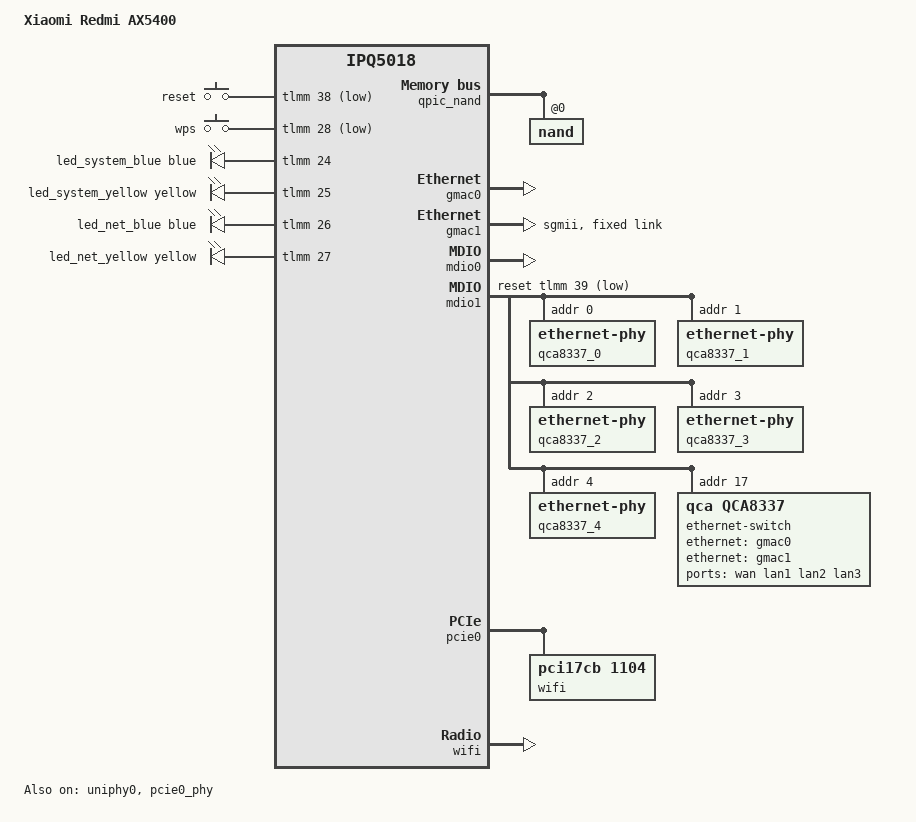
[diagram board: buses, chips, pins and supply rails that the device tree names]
/dts-v1/;

#include "ipq5018-xiaomi-base.dtsi"

/ {
	model = "Xiaomi Redmi AX5400";
	compatible = "xiaomi,redmi-ax5400", "qcom,ipq5018";

	aliases {
		label-mac-device = &gmac0;
		led-boot = &led_system_blue;
		led-failsafe = &led_system_yellow;
		led-running = &led_system_blue;
		led-upgrade = &led_system_yellow;
	};

	keys {
		compatible = "gpio-keys";

		pinctrl-0 = <&button_pins>;
		pinctrl-names = "default";

		reset-button {
			label = "reset";
			gpios = <&tlmm 38 GPIO_ACTIVE_LOW>;
			linux,code = <KEY_RESTART>;
		};

		wps-button {
			label = "wps";
			gpios = <&tlmm 28 GPIO_ACTIVE_LOW>;
			linux,code = <KEY_WPS_BUTTON>;
		};
	};

	leds {
		compatible = "gpio-leds";

		pinctrl-0 = <&leds_pins>;
		pinctrl-names = "default";

		led_system_blue: system-blue {
			color = <LED_COLOR_ID_BLUE>;
			function = LED_FUNCTION_POWER;
			gpios = <&tlmm 24 GPIO_ACTIVE_HIGH>;
		};

		led_system_yellow: system-yellow {
			color = <LED_COLOR_ID_YELLOW>;
			function = LED_FUNCTION_POWER;
			gpios = <&tlmm 25 GPIO_ACTIVE_HIGH>;
		};

		led_net_blue: net-blue {
			color = <LED_COLOR_ID_BLUE>;
			function = LED_FUNCTION_WAN;
			gpios = <&tlmm 26 GPIO_ACTIVE_HIGH>;
		};

		led_net_yellow: net-yellow {
			color = <LED_COLOR_ID_YELLOW>;
			function = LED_FUNCTION_WAN;
			gpios = <&tlmm 27 GPIO_ACTIVE_HIGH>;
		};
	};
};

&qpic_nand {
	nand@0 {
		nand-ecc-step-size = <512>;
		nand-ecc-strength = <8>;
	};
};

&art {
	nvmem-layout {
		compatible = "fixed-layout";
		#address-cells = <1>;
		#size-cells = <1>;

		mac_addr_gmac1: macaddr@0 {
			reg = <0x0 0x6>;
		};

		mac_addr_gmac0: macaddr@6 {
			reg = <0x6 0x6>;
		};
	};
};

/*
* =================================================================
*     _______________________             _______________________
*    |        IPQ5018        |           |        QCA8337        |
*    | +------+   +--------+ |           | +--------+   +------+ |
*    | | MAC0 |---| GE Phy |-+--- MDI ---+ | Phy4   |---| MAC4 | |
*    | +------+   +--------+ |           | +--------+   +------+ |
*    | +------+   +--------+ |           | +--------+   +------+ |
*    | | MAC1 |---| Uniphy |-+-- SGMII---+ | SerDes |---| MAC0 | |
*    | +------+   +--------+ |           | +--------+   +------+ |
*    |_______________________|           |_______________________|
*
* =================================================================
*/

&uniphy0 {
	status = "okay";

	assigned-clocks = <&uniphy0 UNIPHY_CLK_REF>;
	assigned-clock-rates = <UNIPHY_REFCLK_25MHZ>;
};

// MAC0 -> GE Phy
&gmac0 {
	status = "okay";

	nvmem-cells = <&mac_addr_gmac0 0>;
	nvmem-cell-names = "mac-address";
};

// MAC1 ---SGMII---> QCA8337
&gmac1 {
	status = "okay";

	phy-mode = "sgmii";

	nvmem-cells = <&mac_addr_gmac1 0>;
	nvmem-cell-names = "mac-address";

	fixed-link {
		speed = <1000>;
		full-duplex;
	};
};

&mdio0 {
	status = "okay";
};

// IPQ5018 GE Phy -> QCA8337 PHY4
&ge_phy {
	qcom,dac-preset-short-cable;
};

&mdio1 {
	status = "okay";

	pinctrl-0 = <&mdio1_pins>;
	pinctrl-names = "default";
	reset-gpios = <&tlmm 39 GPIO_ACTIVE_LOW>;

	// QCA8337 Phy0 -> WAN
	qca8337_0: ethernet-phy@0 {
		reg = <0>;
	};

	// QCA8337 Phy1 -> LAN1
	qca8337_1: ethernet-phy@1 {
		reg = <1>;
	};

	// QCA8337 Phy2 -> LAN2
	qca8337_2: ethernet-phy@2 {
		reg = <2>;
	};

	// QCA8337 Phy3 -> LAN3
	qca8337_3: ethernet-phy@3 {
		reg = <3>;
	};

	// QCA8337 Phy4 -> IPQ5018 GE Phy
	qca8337_4: ethernet-phy@4 {
		reg = <4>;
	};

	// QCA8337 switch
	ethernet-switch@11 {
		compatible = "qca,qca8337";
		reg = <0x11>;

		ports {
			#address-cells = <1>;
			#size-cells = <0>;

			port@1 {
				reg = <1>;
				label = "wan";
				phy-handle = <&qca8337_0>;

				nvmem-cells = <&mac_addr_gmac0 0>;
				nvmem-cell-names = "mac-address";
			};

			port@2 {
				reg = <2>;
				label = "lan1";
				phy-handle = <&qca8337_1>;
			};

			port@3 {
				reg = <3>;
				label = "lan2";
				phy-handle = <&qca8337_2>;
			};

			port@4 {
				reg = <4>;
				label = "lan3";
				phy-handle = <&qca8337_3>;
			};

			port@5 {
				reg = <5>;
				phy-handle = <&qca8337_4>;
				phy-mode = "gmii";
				ethernet = <&gmac0>;
			};

			port@6 {
				reg = <6>;
				phy-mode = "sgmii";
				ethernet = <&gmac1>;
				qca,sgmii-enable-pll;

				fixed-link {
					speed = <1000>;
					full-duplex;
				};
			};
		};
	};
};

&tlmm {
	button_pins: button-state {
		pins = "gpio28", "gpio38";
		function = "gpio";
		drive-strength = <8>;
		bias-pull-up;
	};

	leds_pins: leds-state {
		pins = "gpio24", "gpio25", "gpio26", "gpio27";
		function = "gpio";
		drive-strength = <8>;
		bias-pull-down;
	};
};

&pcie0_phy {
	status = "okay";
};

&pcie0 {
	status = "okay";

	perst-gpios = <&tlmm 15 GPIO_ACTIVE_LOW>;

	pcie@0 {
		wifi@0,0 {
			status = "okay";

			/* QCN9074: ath11k lacks DT compatible for PCI cards */
			compatible = "pci17cb,1104";
			reg = <0x00010000 0 0 0 0>;

			qcom,ath11k-calibration-variant = "Xiaomi-Redmi-AX5400";
		};
	};
};

&q6v5_wcss {
	firmware-name = "ath11k/IPQ5018/hw1.0/q6_fw.mdt",
			"ath11k/IPQ5018/hw1.0/m3_fw.mdt";
};

&wifi {
	status = "okay";

	qcom,rproc = <&q6v5_wcss>;
	qcom,ath11k-calibration-variant = "Xiaomi-Redmi-AX5400";
	qcom,ath11k-fw-memory-mode = <1>;
};
